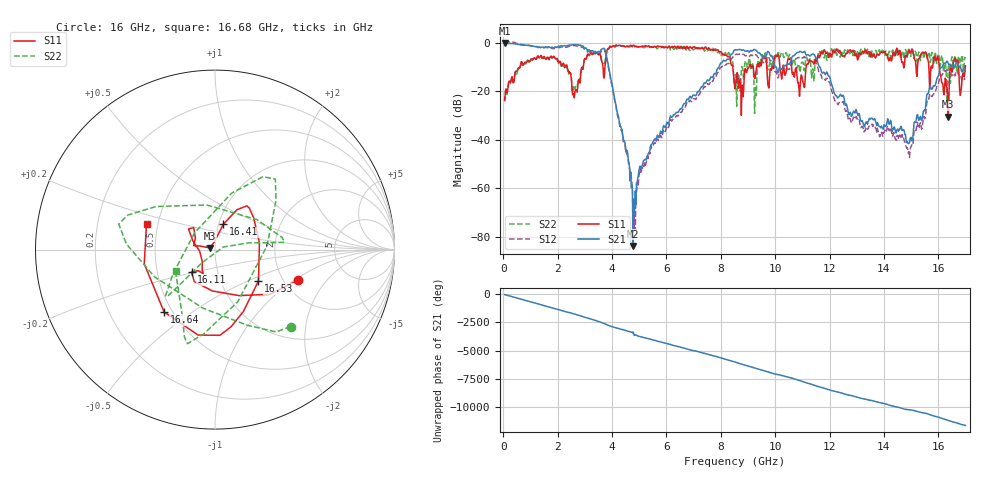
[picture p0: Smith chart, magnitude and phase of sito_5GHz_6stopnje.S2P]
! C:\Users\Aljaz\Desktop\sito_5GHz.S2P
! Touchstone 1.1 file saved by VNA.EXE V1.65 (www.ke5fx.com/gpib/readme.htm)
! 27. 03. 2024 12:09:11
!  Source: HP8510C.07.14: Aug 26  1998
!  Min freq: 4.500000E+007 Hz
!  Max freq: 1.700000E+010 Hz
!  Points: 801
!  Params: S11 S21 S12 S22
# GHZ S DB R 50
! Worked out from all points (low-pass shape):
!   801 points, 45 MHz to 17 GHz, reference 50 ohm
!   highest |S21| = -0.04 dB at 45 MHz (marker M1); lowest = -83.7 dB at 4.771 GHz (marker M2)
!   |S21| within 3 dB of the highest: start of sweep to 3.096 GHz; 8.492 GHz to 8.769 GHz (277 MHz wide, 3.21 % of centre)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
!   lowest |S11| = -30.4 dB at 16.36 GHz (marker M3), VSWR 1.06, Z = 47.2 + j0.836 ohm
!   |S11| at or under -10 dB: start of sweep to 609.5 MHz; 2.349 GHz to 2.939 GHz (589.5 MHz wide, 22.3 % of centre); 8.441 GHz to 9.034 GHz (593.2 MHz wide, 6.79 % of centre)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
!   |S22| runs from -29.1 to -1.0 dB; largest |S21 - S12| = 2
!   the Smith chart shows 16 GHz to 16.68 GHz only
!   S11 on the Smith chart (normalised r, x): 16 GHz: 2.37, -1.07; 16.11 GHz: 0.75, -0.19; 16.41 GHz: 1.05, +0.31; 16.53 GHz: 1.51, -0.58; 16.64 GHz: 0.45, -0.39; 16.68 GHz: 0.43, +0.15
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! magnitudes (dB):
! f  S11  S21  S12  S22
! 45 MHz  -23.6  0.0  1.0  -24.2
! 1.083 GHz  -6.9  -1.3  -1.2  -7.2
! 2.631 GHz  -20.4  -0.7  -1.1  -18.9
! 2.885 GHz  -10.1  -1.3  -1.9  -10.0
! 3.754 GHz  -8.1  -3.3  -4.1  -6.5
! 4.771 GHz  -1.1  -83.7  -83.9  -1.4
! 5.704 GHz  -1.4  -39.0  -40.3  -1.9
! 8.226 GHz  -5.3  -6.9  -8.6  -5.2
! 8.523 GHz  -18.9  -2.8  -4.8  -14.2
! 9.582 GHz  -6.5  -5.7  -7.7  -6.2
! 11.36 GHz  -7.7  -4.7  -6.9  -12.2
! 12.76 GHz  -2.8  -28.6  -31.4  -4.1
! 14.18 GHz  -7.4  -33.4  -35.9  -3.9
! 14.97 GHz  -4.1  -39.5  -44.3  -4.7
! 16 GHz  -6.2  -13.6  -16.9  -4.4
! 16.11 GHz  -14.9  -10.2  -13.4  -6.1
! 16.36 GHz  -30.4  -8.3  -11.6  -11.5
! 16.41 GHz  -16.5  -8.9  -12.3  -8.5
! 16.53 GHz  -10.5  -9.5  -12.9  -7.2
! 16.64 GHz  -7.0  -9.1  -12.5  -5.8
! 16.68 GHz  -7.8  -7.9  -11.4  -12.0
! 17 GHz  -9.4  -11.5  -15.0  -6.2
